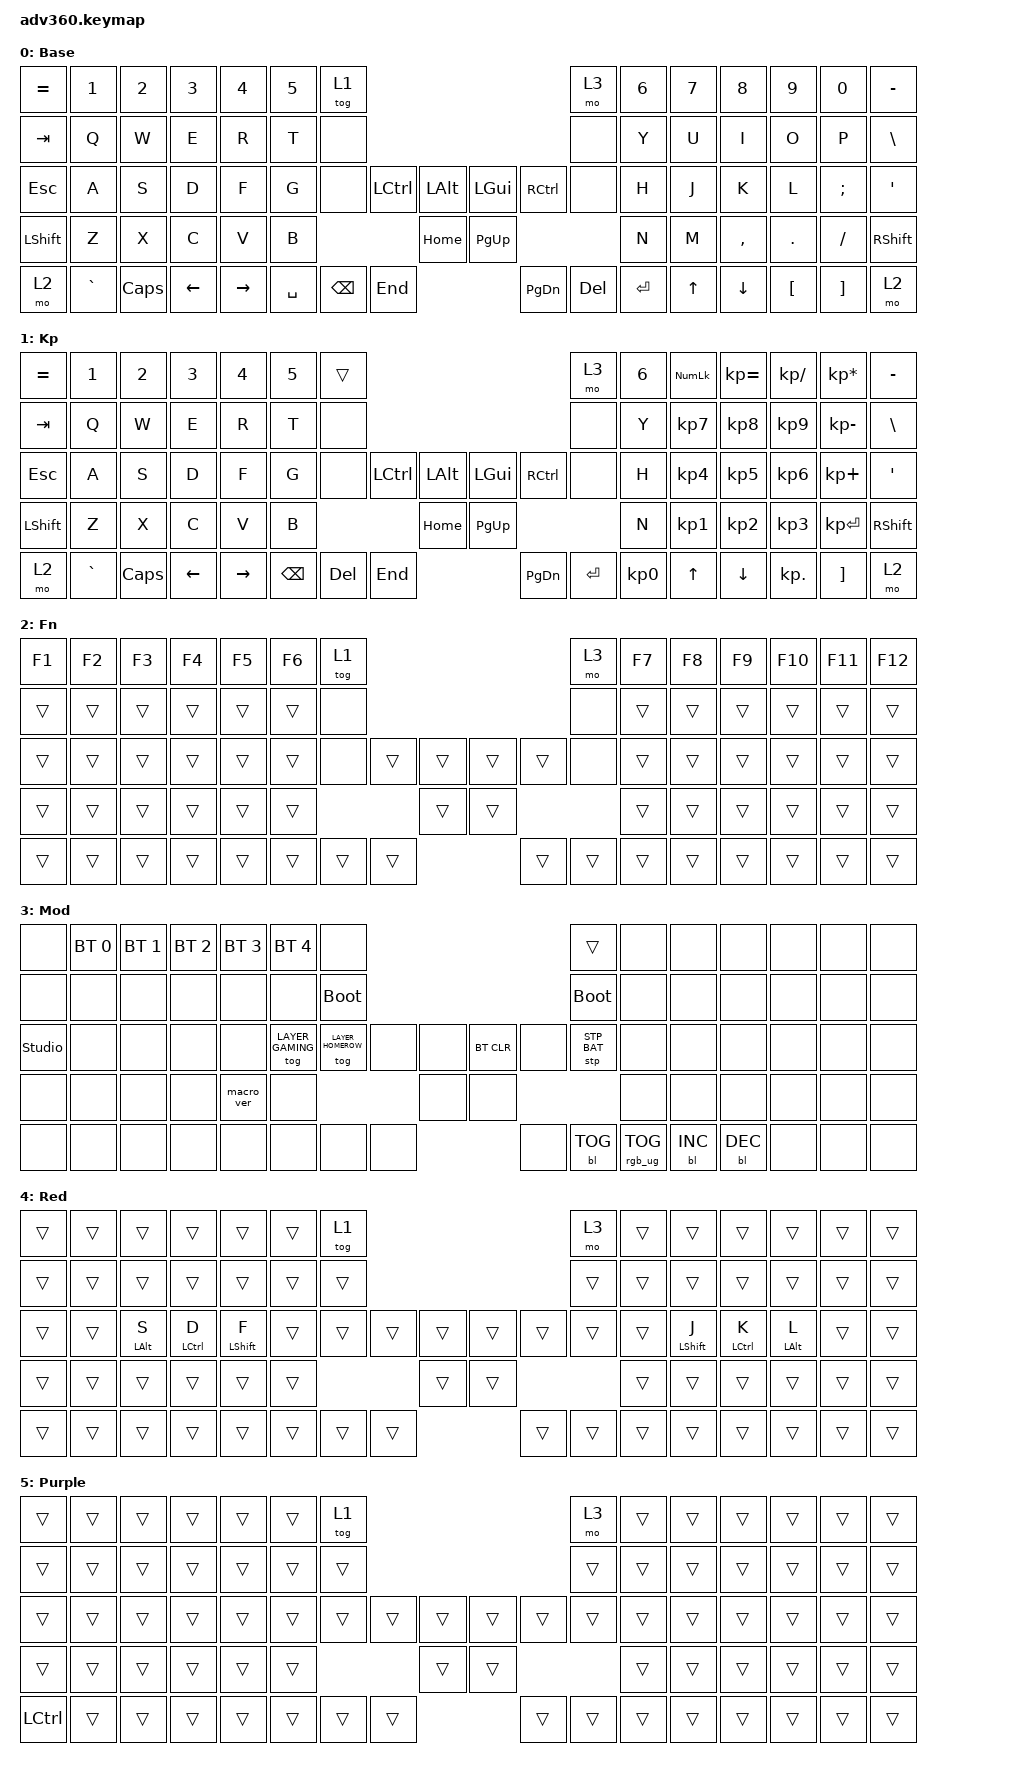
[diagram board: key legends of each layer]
#include <behaviors.dtsi>
#include <dt-bindings/zmk/keys.h>
#include <dt-bindings/zmk/bt.h>
#include <dt-bindings/zmk/rgb.h>
#include <dt-bindings/zmk/stp.h>
#include <dt-bindings/zmk/backlight.h>
#include <dt-bindings/zmk/pointing.h>

#define LAYER_HOMEROW 4
#define LAYER_GAMING 5

#define KEYS_L   0  1  2  3  4  5  6 \
                14 15 16 17 18 19 20 \
                28 29 30 31 32 33 34 \
                46 47 48 49 50 51    \
                60 61 62 63 64

#define THUMBS_LEFT     35 36 \
                           52 \
                     65 66 67 \

#define KEYS_R   7  8  9 10 11 12 13 \
                21 22 23 24 25 26 27 \
                39 40 41 42 43 44 45 \
                   54 55 56 57 58 59 \
                      71 72 73 74 75

#define THUMBS_RIGHT 37 38    \
                     53       \
                     68 69 70 \

/ {
    behaviors {
      #include "macros.dtsi"
      #include "version.dtsi"

      hm: homerow_mods {
          compatible = "zmk,behavior-hold-tap";
          label = "HOMEROW_MODS";
          #binding-cells = <2>;
          tapping-term-ms = <200>;
          quick_tap_ms = <175>;
          flavor = "tap-preferred";
          bindings = <&kp>, <&kp>;
      };

      hml: homerow_mods_left {
          compatible = "zmk,behavior-hold-tap";
          label = "HML";
          #binding-cells = <2>;
          tapping-term-ms = <200>;
          quick_tap_ms = <175>;
          flavor = "balanced";
          bindings = <&kp>, <&kp>;
          hold-trigger-key-positions = <KEYS_R THUMBS_RIGHT>;
          hold-trigger-on-release;
          require-prior-idle-ms = <100>;
      };

      hmr: homerow_mods_right {
          compatible = "zmk,behavior-hold-tap";
          label = "HMR";
          #binding-cells = <2>;
          tapping-term-ms = <200>;
          quick_tap_ms = <175>;
          flavor = "balanced";
          bindings = <&kp>, <&kp>;
          hold-trigger-on-release;
          hold-trigger-key-positions = <KEYS_L THUMBS_LEFT>;
          require-prior-idle-ms = <100>;
        };
    };

  keymap {
    compatible = "zmk,keymap";

    default_layer {
      display-name = "Base";
      bindings = <
        &kp EQUAL &kp N1    &kp N2   &kp N3   &kp N4     &kp N5 &tog 1                                                           &mo 3 &kp N6 &kp N7 &kp N8    &kp N9   &kp N0   &kp MINUS
        &kp TAB   &kp Q     &kp W    &kp E    &kp R      &kp T  &none                                                            &none &kp Y  &kp U  &kp I     &kp O    &kp P    &kp BSLH
        &kp ESC   &kp A     &kp S    &kp D    &kp F      &kp G  &none           &kp LCTRL &kp LALT &kp LGUI  &kp RCTRL           &none &kp H  &kp J  &kp K     &kp L    &kp SEMI &kp SQT
        &kp LSHFT &kp Z     &kp X    &kp C    &kp V      &kp B                            &kp HOME &kp PG_UP                           &kp N  &kp M  &kp COMMA &kp DOT  &kp FSLH &kp RSHFT
        &mo 2     &kp GRAVE &kp CAPS &kp LEFT &kp RIGHT                &kp SPACE &kp BSPC &kp END  &kp PG_DN &kp DEL &kp ENTER                &kp UP &kp DOWN  &kp LBKT &kp RBKT &mo 2
      >;
    };
    keypad {
      display-name = "Kp";
      bindings = <
        &kp EQUAL &kp N1    &kp N2   &kp N3   &kp N4     &kp N5 &trans                                                           &mo 3 &kp N6 &kp KP_NUM &kp KP_EQUAL &kp KP_DIVIDE &kp KP_MULTIPLY &kp MINUS
        &kp TAB   &kp Q     &kp W    &kp E    &kp R      &kp T  &none                                                            &none &kp Y  &kp KP_N7  &kp KP_N8    &kp KP_N9     &kp KP_MINUS    &kp BSLH
        &kp ESC   &kp A     &kp S    &kp D    &kp F      &kp G  &none           &kp LCTRL &kp LALT &kp LGUI  &kp RCTRL           &none &kp H  &kp KP_N4  &kp KP_N5    &kp KP_N6     &kp KP_PLUS     &kp SQT
        &kp LSHFT &kp Z     &kp X    &kp C    &kp V      &kp B                            &kp HOME &kp PG_UP                           &kp N  &kp KP_N1  &kp KP_N2    &kp KP_N3     &kp KP_ENTER    &kp RSHFT
        &mo 2     &kp GRAVE &kp CAPS &kp LEFT &kp RIGHT                &kp BSPC &kp DEL   &kp END  &kp PG_DN &kp ENTER &kp KP_N0              &kp UP     &kp DOWN     &kp KP_DOT    &kp RBKT        &mo 2
      >;
    };
    fn {
      display-name = "Fn";
      bindings = <
        &kp F1 &kp F2 &kp F3 &kp F4 &kp F5 &kp F6 &tog 1                                           &mo 3 &kp F7 &kp F8 &kp F9 &kp F10 &kp F11 &kp F12
        &trans &trans &trans &trans &trans &trans  &none                                           &none &trans &trans &trans &trans  &trans  &trans
        &trans &trans &trans &trans &trans &trans  &none        &trans &trans &trans &trans        &none &trans &trans &trans &trans  &trans  &trans
        &trans &trans &trans &trans &trans &trans                      &trans &trans                     &trans &trans &trans &trans  &trans  &trans
        &trans &trans &trans &trans &trans               &trans &trans &trans &trans &trans &trans              &trans &trans &trans  &trans  &trans
      >;
    };
    mod {
      display-name = "Mod";
      bindings = <
        &none &bt BT_SEL 0 &bt BT_SEL 1 &bt BT_SEL 2 &bt BT_SEL 3 &bt BT_SEL 4 &none                                                                     &trans                 &none        &none        &none        &none &none &none
        &none &none        &none        &none        &none        &none        &bootloader                                                               &bootloader            &none        &none        &none        &none &none &none
        &studio_unlock &none        &none        &none        &none    &tog LAYER_GAMING &tog LAYER_HOMEROW       &none &none &bt BT_CLR &none                      &stp STP_BAT &none        &none        &none        &none &none &none
        &none &none        &none        &none        &macro_ver   &none                                      &none &none                                                        &none        &none        &none        &none &none &none
        &none &none        &none        &none        &none                                       &none &none &none &none      &bl BL_TOG &rgb_ug RGB_TOG                                     &bl BL_INC   &bl BL_DEC   &none &none &none
      >;
    };
    extra1 { // LAYER_HOMEROW
      display-name = "Red";
      bindings = <
        &trans &trans     &trans     &trans      &trans      &trans  &tog 1                                                              &mo 3  &trans &trans      &trans      &trans     &trans        &trans
        &trans &trans     &trans     &trans      &trans      &trans  &trans                                                              &trans &trans &trans      &trans      &trans     &trans        &trans
        &trans &trans     &hml LALT S &hml LCTRL D &hml LSHFT F &trans  &trans             &trans &trans &trans &trans                   &trans &trans &hmr LSHFT J &hmr LCTRL K &hmr LALT L &trans     &trans
        &trans &trans     &trans     &trans      &trans      &trans                                &trans &trans                                &trans &trans      &trans      &trans     &trans        &trans
        &trans &trans     &trans     &trans      &trans                              &trans &trans &trans &trans &trans &trans                         &trans      &trans      &trans     &trans        &trans
      >;
    };

    extra2 { // LAYER_GAMING
      display-name = "Purple";    
       bindings = <
        &trans &trans     &trans     &trans      &trans      &trans  &tog 1                                                              &mo 3  &trans &trans      &trans      &trans     &trans        &trans
        &trans &trans     &trans     &trans      &trans      &trans  &trans                                                              &trans &trans &trans      &trans      &trans     &trans        &trans
        &trans &trans     &trans     &trans      &trans      &trans  &trans                 &trans &trans &trans &trans                  &trans &trans &trans      &trans      &trans     &trans        &trans
        &trans &trans     &trans     &trans      &trans      &trans                                &trans &trans                                &trans &trans      &trans      &trans     &trans        &trans
        &kp LCTRL &trans  &trans     &trans      &trans                              &trans &trans &trans &trans &trans &trans                         &trans      &trans      &trans     &trans        &trans
      >;
    };

    extra3 { 
      display-name = "Cyan";    
      status = "reserved";
    };

    extra4 { 
      display-name = "Yellow";    
      status = "reserved";
    };
  };
};
